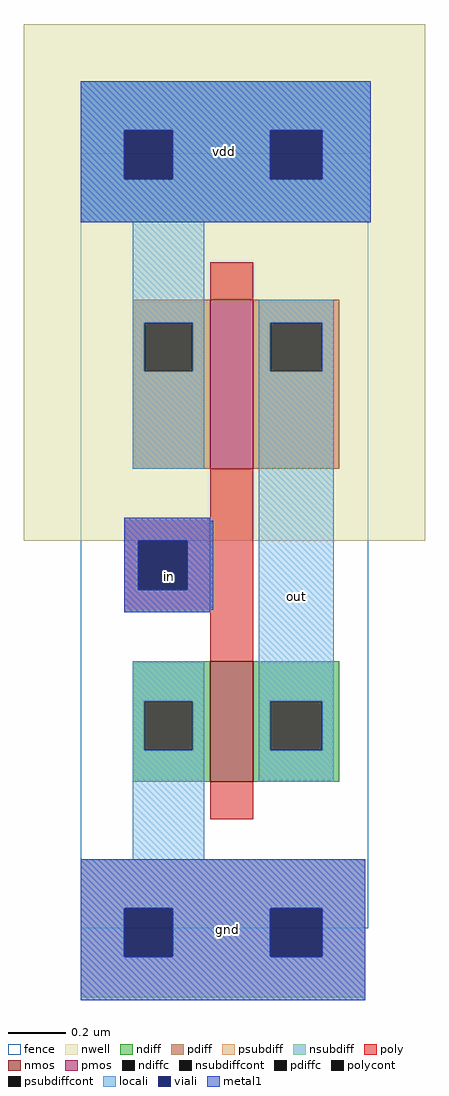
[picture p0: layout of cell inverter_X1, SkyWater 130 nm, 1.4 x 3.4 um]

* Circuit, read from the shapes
.subckt inverter_X1 vdd gnd in out
XM1 out in gnd gnd sky130_fd_pr__nfet_01v8 w=0.42 l=0.15
XM2 out in vdd vdd sky130_fd_pr__pfet_01v8 w=0.59 l=0.15
.ends

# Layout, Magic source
magic
tech sky130A
<< fence >>
rect 0 0 100 270
<< nwell >>
rect -20 135 120 315
<< nmos >>
rect 45 51 60 93
<< pmos >>
rect 45 160 60 219
<< ndiff >>
rect 18 79 45 93
rect 18 62 22 79
rect 39 62 45 79
rect 18 51 45 62
rect 60 79 90 93
rect 60 62 66 79
rect 84 62 90 79
rect 60 51 90 62
<< pdiff >>
rect 18 211 45 219
rect 18 194 22 211
rect 39 194 45 211
rect 18 160 45 194
rect 60 211 90 219
rect 60 194 66 211
rect 84 194 90 211
rect 60 160 90 194
<< ndiffc >>
rect 22 62 39 79
rect 66 62 84 79
<< pdiffc >>
rect 22 194 39 211
rect 66 194 84 211
<< psubdiff >>
rect 0 7 99 24
rect 0 -10 15 7
rect 32 -10 66 7
rect 84 -10 99 7
rect 0 -24 99 -10
<< nsubdiff >>
rect 0 278 101 295
rect 0 261 15 278
rect 32 261 66 278
rect 84 261 101 278
rect 0 246 101 261
<< psubdiffcont >>
rect 15 -10 32 7
rect 66 -10 84 7
<< nsubdiffcont >>
rect 15 261 32 278
rect 66 261 84 278
<< poly >>
rect 45 219 60 232
rect 45 143 60 160
rect 15 135 60 143
rect 15 118 20 135
rect 37 118 60 135
rect 15 110 60 118
rect 45 93 60 110
rect 45 38 60 51
<< polycont >>
rect 20 118 37 135
<< locali >>
rect 0 278 101 295
rect 0 261 15 278
rect 32 261 66 278
rect 84 261 101 278
rect 0 246 101 261
rect 18 211 43 246
rect 18 194 22 211
rect 39 194 43 211
rect 18 160 43 194
rect 62 211 88 219
rect 62 194 66 211
rect 84 194 88 211
rect 15 135 45 143
rect 15 118 20 135
rect 37 118 45 135
rect 15 110 45 118
rect 18 79 43 93
rect 18 62 22 79
rect 39 62 43 79
rect 18 24 43 62
rect 62 79 88 194
rect 62 62 66 79
rect 84 62 88 79
rect 62 51 88 62
rect 0 7 99 24
rect 0 -10 15 7
rect 32 -10 66 7
rect 84 -10 99 7
rect 0 -25 99 -10
<< viali >>
rect 15 261 32 278
rect 66 261 84 278
rect 20 118 37 135
rect 15 -10 32 7
rect 66 -10 84 7
<< metal1 >>
rect 0 278 101 295
rect 0 261 15 278
rect 32 261 66 278
rect 84 261 101 278
rect 0 246 101 261
rect 15 142 45 143
rect 15 135 46 142
rect 15 118 20 135
rect 37 118 46 135
rect 15 111 46 118
rect 15 110 45 111
rect 0 7 99 24
rect 0 -10 15 7
rect 32 -10 66 7
rect 84 -10 99 7
rect 0 -25 99 -10
<< labels >>
rlabel nwell 6 249 94 292 1 vdd
port 1 n
rlabel metal1 7 -22 95 21 1 gnd
port 2 n
rlabel metal1 20 112 42 133 1 in
port 4 n
rlabel locali 68 102 82 129 1 out
port 5 n
<< end >>
